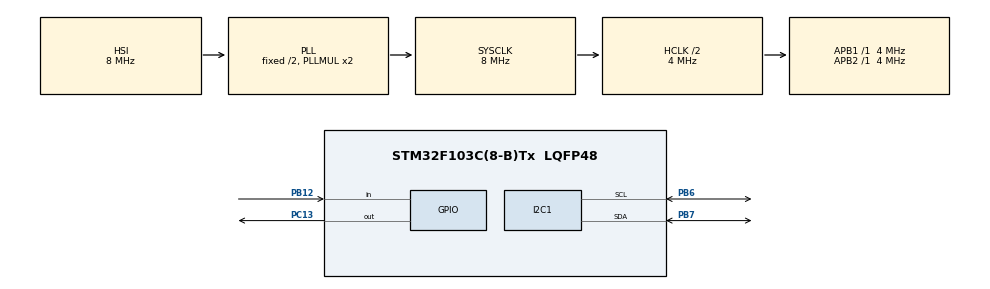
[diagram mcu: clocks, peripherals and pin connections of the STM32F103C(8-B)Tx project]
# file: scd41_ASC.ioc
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FREERTOS.Mutexes01=MutexI2C1,Dynamic,NULL,Available
FREERTOS.Tasks01=TaskASC,24,128,StartTaskASC,Default,NULL,Dynamic,NULL,NULL
Mcu.Family=STM32F1
Mcu.Name=STM32F103C(8-B)Tx
Mcu.Package=LQFP48
NVIC.PriorityGroup=NVIC_PRIORITYGROUP_4
NVIC.TIM4_IRQn=true\:15\:0\:false\:false\:true\:false\:false\:true\:true
NVIC.TimeBase=TIM4_IRQn
NVIC.TimeBaseIP=TIM4
PA13.Mode=Trace_Asynchronous_SW
PA13.Signal=SYS_JTMS-SWDIO
PA14.Mode=Trace_Asynchronous_SW
PA14.Signal=SYS_JTCK-SWCLK
PB12.GPIO_PuPd=GPIO_PULLUP
PB12.Signal=GPIO_Input
PB3.Mode=Trace_Asynchronous_SW
PB3.Signal=SYS_JTDO-TRACESWO
PB6.Mode=I2C
PB6.Signal=I2C1_SCL
PB7.Mode=I2C
PB7.Signal=I2C1_SDA
PC13-TAMPER-RTC.Signal=GPIO_Output
ProjectManager.HeapSize=0x200
ProjectManager.StackSize=0x400
ProjectManager.TargetToolchain=STM32CubeIDE
RCC.AHBCLKDivider=RCC_SYSCLK_DIV2
RCC.AHBFreq_Value=4000000
RCC.APB1Freq_Value=4000000
RCC.APB1TimFreq_Value=4000000
RCC.APB2Freq_Value=4000000
RCC.APB2TimFreq_Value=4000000
RCC.HCLKFreq_Value=4000000
RCC.SYSCLKFreq_VALUE=8000000
RCC.SYSCLKSource=RCC_SYSCLKSOURCE_PLLCLK
RCC.USBFreq_Value=8000000
VP_FREERTOS_VS_CMSIS_V2.Mode=CMSIS_V2
VP_SYS_VS_tim4.Mode=TIM4
board=custom

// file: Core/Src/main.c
/* USER CODE BEGIN Header */
/**
  ******************************************************************************
  * @file           : main.c
  * @brief          : Main program body
  ******************************************************************************
  * @attention
  *
  * Copyright (c) 2026 STMicroelectronics.
  * All rights reserved.
  *
  * This software is licensed under terms that can be found in the LICENSE file
  * in the root directory of this software component.
  * If no LICENSE file comes with this software, it is provided AS-IS.
  *
  ******************************************************************************
  */
/* USER CODE END Header */
#include "main.h"
#include "cmsis_os.h"

/* USER CODE BEGIN Includes */

#include "itm.h"
#include "button.h"
#include "scd4x_i2c.h"
#include <stdbool.h>

#undef Error_Handler
/* USER CODE END Includes */

I2C_HandleTypeDef hi2c1;

/* Definitions for TaskASC */
osThreadId_t TaskASCHandle;
const osThreadAttr_t TaskASC_attributes = {
  .name = "TaskASC",
  .stack_size = 128 * 4,
  .priority = (osPriority_t) osPriorityNormal,
};
/* Definitions for MutexI2C1 */
osMutexId_t MutexI2C1Handle;
const osMutexAttr_t MutexI2C1_attributes = {
  .name = "MutexI2C1"
};
/* USER CODE BEGIN PV */
typedef enum {
  LED_MODE_OFF = 0,
  LED_MODE_BLINK_SLOW,
  LED_MODE_BLINK_FAST,
  LED_MODE_ON
} LedMode_t;

typedef struct {
  scd4x_runtime_t runtime;
  bool sensor_connected;
  bool asc_enabled;
  bool measurement_running;
  bool measurement_has_data;
  LedMode_t led_mode;
  uint32_t last_led_toggle_ms;
  uint32_t last_link_check_ms;
} AppState_t;
/* USER CODE END PV */

void SystemClock_Config(void);
static void MX_GPIO_Init(void);
static void MX_I2C1_Init(void);
void StartTaskASC(void *argument);

/* USER CODE BEGIN PFP */
static void LED_SetOn(void);
static void LED_SetOff(void);
static void LED_ApplyMode(AppState_t *app, uint32_t now_ms);
static int16_t Sensor_CheckConnection(void);
static int16_t Sensor_ReadAscState(uint16_t *asc_enabled_raw);
static int16_t Sensor_StopMeasurement(void);
static int16_t Sensor_StartMeasurement(AppState_t *app);
static int16_t Sensor_SetAscAndPersist(uint16_t asc_enabled);
static void App_UpdateLedMode(AppState_t *app);
static void App_HandleShortPress(AppState_t *app);
static void App_HandleLongPress(AppState_t *app);
/* USER CODE END PFP */

/* USER CODE BEGIN 0 */

static void LED_SetOn(void)
{
  HAL_GPIO_WritePin(GPIOC, GPIO_PIN_13, GPIO_PIN_RESET);
}

static void LED_SetOff(void)
{
  HAL_GPIO_WritePin(GPIOC, GPIO_PIN_13, GPIO_PIN_SET);
}

static void LED_ApplyMode(AppState_t *app, uint32_t now_ms)
{
  if (app->led_mode == LED_MODE_OFF)
  {
    LED_SetOff();
    return;
  }

  if (app->led_mode == LED_MODE_ON)
  {
    LED_SetOn();
    return;
  }

  if (app->led_mode == LED_MODE_BLINK_SLOW)
  {
    if ((now_ms - app->last_led_toggle_ms) >= 500U)
    {
      app->last_led_toggle_ms = now_ms;
      HAL_GPIO_TogglePin(GPIOC, GPIO_PIN_13);
    }
    return;
  }

  if ((now_ms - app->last_led_toggle_ms) >= 100U)
  {
    app->last_led_toggle_ms = now_ms;
    HAL_GPIO_TogglePin(GPIOC, GPIO_PIN_13);
  }
}

static int16_t Sensor_CheckConnection(void)
{
  uint16_t data_ready_raw = 0U;
  return scd4x_get_data_ready_status_raw(&data_ready_raw);
}

static int16_t Sensor_ReadAscState(uint16_t *asc_enabled_raw)
{
  if (asc_enabled_raw == NULL)
  {
    return NOT_IMPLEMENTED_ERROR;
  }

  /* Do not stop measurement here; boot path must be non-intrusive. */
  return scd4x_get_automatic_self_calibration_enabled(asc_enabled_raw);
}

static int16_t Sensor_StopMeasurement(void)
{
  int16_t err = scd4x_stop_periodic_measurement();
  if (err == NO_ERROR)
  {
  }
  return err;
}

static int16_t Sensor_StartMeasurement(AppState_t *app)
{
  int16_t err = scd4x_runtime_start_periodic_measurement(&app->runtime);
  if (err == NO_ERROR)
  {
    app->measurement_running = true;
    app->measurement_has_data = false;
  }
  return err;
}

static int16_t Sensor_SetAscAndPersist(uint16_t asc_enabled)
{
  int16_t err = scd4x_set_automatic_self_calibration_enabled(asc_enabled);
  if (err != NO_ERROR)
  {
    return err;
  }

  err = scd4x_persist_settings();
  if (err == NO_ERROR)
  {
  }
  return err;
}

static void App_UpdateLedMode(AppState_t *app)
{
  if (!app->sensor_connected)
  {
    app->led_mode = LED_MODE_OFF;
    return;
  }

  if (!app->asc_enabled)
  {
    app->led_mode = LED_MODE_BLINK_SLOW;
    return;
  }

  if (!app->measurement_has_data)
  {
    app->led_mode = LED_MODE_BLINK_FAST;
    return;
  }

  app->led_mode = LED_MODE_ON;
}

static void App_HandleShortPress(AppState_t *app)
{
  int16_t err;

  if (!app->sensor_connected)
  {
    itm_print("[APP] SHORT ignored: sensor disconnected\r\n");
    return;
  }

  if (!app->asc_enabled)
  {
    (void)Sensor_StopMeasurement();

    err = Sensor_SetAscAndPersist(1U);
    if (err != NO_ERROR)
    {
      itm_print("[APP] SHORT failed: enable ASC\r\n");
      return;
    }

    app->asc_enabled = true;
    (void)Sensor_StartMeasurement(app);
    return;
  }

  if (!app->measurement_has_data)
  {
    (void)Sensor_StartMeasurement(app);
    return;
  }

  itm_print("[APP] SHORT ignored: measuring already stable\r\n");
}

static void App_HandleLongPress(AppState_t *app)
{
  int16_t err;

  if (!app->sensor_connected)
  {
    itm_print("[APP] LONG ignored: sensor disconnected\r\n");
    return;
  }

  (void)Sensor_StopMeasurement();

  err = Sensor_SetAscAndPersist(0U);
  if (err != NO_ERROR)
  {
    itm_print("[APP] LONG failed: disable ASC\r\n");
    return;
  }

  app->asc_enabled = false;
  app->measurement_running = false;
  app->measurement_has_data = false;
}

/* USER CODE END 0 */

int main(void)
{

  /* MCU Configuration--------------------------------------------------------*/

  /* Reset of all peripherals, Initializes the Flash interface and the Systick. */
  HAL_Init();

  /* Configure the system clock */
  SystemClock_Config();

  /* Initialize all configured peripherals */
  MX_GPIO_Init();
  MX_I2C1_Init();

  /* Init scheduler */
  osKernelInitialize();
  /* Create the mutex(es) */
  /* creation of MutexI2C1 */
  MutexI2C1Handle = osMutexNew(&MutexI2C1_attributes);

  /* Create the thread(s) */
  /* creation of TaskASC */
  TaskASCHandle = osThreadNew(StartTaskASC, NULL, &TaskASC_attributes);

  /* Start scheduler */
  osKernelStart();

  /* We should never get here as control is now taken by the scheduler */

  /* Infinite loop */
  while (1)
  {

  }
}

void SystemClock_Config(void)
{
  RCC_OscInitTypeDef RCC_OscInitStruct = {0};
  RCC_ClkInitTypeDef RCC_ClkInitStruct = {0};

  /** Initializes the RCC Oscillators according to the specified parameters
  * in the RCC_OscInitTypeDef structure.
  */
  RCC_OscInitStruct.OscillatorType = RCC_OSCILLATORTYPE_HSI;
  RCC_OscInitStruct.HSIState = RCC_HSI_ON;
  RCC_OscInitStruct.HSICalibrationValue = RCC_HSICALIBRATION_DEFAULT;
  RCC_OscInitStruct.PLL.PLLState = RCC_PLL_ON;
  RCC_OscInitStruct.PLL.PLLSource = RCC_PLLSOURCE_HSI_DIV2;
  RCC_OscInitStruct.PLL.PLLMUL = RCC_PLL_MUL2;
  if (HAL_RCC_OscConfig(&RCC_OscInitStruct) != HAL_OK)
  {
    Error_Handler();
  }

  /** Initializes the CPU, AHB and APB buses clocks
  */
  RCC_ClkInitStruct.ClockType = RCC_CLOCKTYPE_HCLK|RCC_CLOCKTYPE_SYSCLK
                              |RCC_CLOCKTYPE_PCLK1|RCC_CLOCKTYPE_PCLK2;
  RCC_ClkInitStruct.SYSCLKSource = RCC_SYSCLKSOURCE_PLLCLK;
  RCC_ClkInitStruct.AHBCLKDivider = RCC_SYSCLK_DIV2;
  RCC_ClkInitStruct.APB1CLKDivider = RCC_HCLK_DIV1;
  RCC_ClkInitStruct.APB2CLKDivider = RCC_HCLK_DIV1;

  if (HAL_RCC_ClockConfig(&RCC_ClkInitStruct, FLASH_LATENCY_0) != HAL_OK)
  {
    Error_Handler();
  }
}

static void MX_I2C1_Init(void)
{

  hi2c1.Instance = I2C1;
  hi2c1.Init.ClockSpeed = 100000;
  hi2c1.Init.DutyCycle = I2C_DUTYCYCLE_2;
  hi2c1.Init.OwnAddress1 = 0;
  hi2c1.Init.AddressingMode = I2C_ADDRESSINGMODE_7BIT;
  hi2c1.Init.DualAddressMode = I2C_DUALADDRESS_DISABLE;
  hi2c1.Init.OwnAddress2 = 0;
  hi2c1.Init.GeneralCallMode = I2C_GENERALCALL_DISABLE;
  hi2c1.Init.NoStretchMode = I2C_NOSTRETCH_DISABLE;
  if (HAL_I2C_Init(&hi2c1) != HAL_OK)
  {
    Error_Handler();
  }

}

static void MX_GPIO_Init(void)
{
  GPIO_InitTypeDef GPIO_InitStruct = {0};

  /* GPIO Ports Clock Enable */
  __HAL_RCC_GPIOC_CLK_ENABLE();
  __HAL_RCC_GPIOB_CLK_ENABLE();
  __HAL_RCC_GPIOA_CLK_ENABLE();

  /*Configure GPIO pin Output Level */
  HAL_GPIO_WritePin(GPIOC, GPIO_PIN_13, GPIO_PIN_RESET);

  /*Configure GPIO pin : PC13 */
  GPIO_InitStruct.Pin = GPIO_PIN_13;
  GPIO_InitStruct.Mode = GPIO_MODE_OUTPUT_PP;
  GPIO_InitStruct.Pull = GPIO_NOPULL;
  GPIO_InitStruct.Speed = GPIO_SPEED_FREQ_LOW;
  HAL_GPIO_Init(GPIOC, &GPIO_InitStruct);

  /*Configure GPIO pin : PB12 */
  GPIO_InitStruct.Pin = GPIO_PIN_12;
  GPIO_InitStruct.Mode = GPIO_MODE_INPUT;
  GPIO_InitStruct.Pull = GPIO_PULLUP;
  HAL_GPIO_Init(GPIOB, &GPIO_InitStruct);

}

void StartTaskASC(void *argument)
{
  /* USER CODE BEGIN 5 */

  int16_t err;
  ButtonHandle_t g_button1;
  AppState_t app = {0};
  uint16_t asc_enabled_raw = 0U;

  scd4x_runtime_init(&app.runtime, &hi2c1, MutexI2C1Handle);
  scd4x_runtime_set_event_callback(&app.runtime,
                                   scd4x_runtime_default_itm_event_handler,
                                   NULL);

  err = Sensor_CheckConnection();
  app.sensor_connected = (err == NO_ERROR);

  if (app.sensor_connected)
  {
    err = Sensor_ReadAscState(&asc_enabled_raw);
    if (err == NO_ERROR)
    {
      app.asc_enabled = (asc_enabled_raw != 0U);
    }
    else
    {
      /* Sensor may already be in periodic mode after MCU reboot: do not stop it. */
      app.asc_enabled = true;
      app.measurement_running = true;
      app.measurement_has_data = true;
      itm_print("[APP] boot: sensor already measuring, skip stop/start\r\n");
    }
  }

  if (app.sensor_connected && app.asc_enabled && !app.measurement_running)
  {
    err = Sensor_StartMeasurement(&app);
    if (err != NO_ERROR)
    {
      app.measurement_running = false;
      app.measurement_has_data = false;
    }
  }

  app.last_led_toggle_ms = HAL_GetTick();
  app.last_link_check_ms = HAL_GetTick();

  Button_Init(&g_button1,
              GPIOB,
              GPIO_PIN_12,
              GPIO_PIN_RESET,
              30U,
              2000U);

  /* Infinite loop */
  for(;;)
  {
    uint32_t now_ms = HAL_GetTick();
    ButtonEvent_t btn_event = Button_Update(&g_button1);

    if (btn_event == BUTTON_EVENT_SHORT)
    {
      itm_print("BUTTON SHORT\r\n");
      App_HandleShortPress(&app);
    }
    else if (btn_event == BUTTON_EVENT_LONG)
    {
      itm_print("BUTTON LONG\r\n");
      App_HandleLongPress(&app);
    }

    if (app.measurement_running)
    {
      if (scd4x_runtime_poll(&app.runtime))
      {
        app.measurement_has_data = true;
      }

      app.sensor_connected = (app.runtime.error == NO_ERROR);
      if (!app.sensor_connected)
      {
        app.measurement_has_data = false;
      }
    }
    else if ((now_ms - app.last_link_check_ms) >= 500U)
    {
      app.last_link_check_ms = now_ms;
      app.sensor_connected = (Sensor_CheckConnection() == NO_ERROR);
    }

    App_UpdateLedMode(&app);
    LED_ApplyMode(&app, now_ms);

    osDelay(20);

  }
  /* USER CODE END 5 */
}

void HAL_TIM_PeriodElapsedCallback(TIM_HandleTypeDef *htim)
{
  if (htim->Instance == TIM4)
  {
    HAL_IncTick();
  }
}

void Error_Handler(void)
{
  __disable_irq();
  while (1)
  {
  }
}
